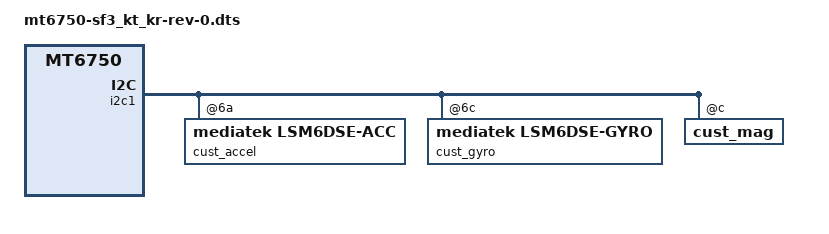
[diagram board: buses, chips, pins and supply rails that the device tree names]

/dts-v1/;

#include "../muse6750_hdk_n_lge.dtsi"

#include "../mt6750-common.dtsi"
#include "mt6750-sf3_kt_kr-power.dtsi"
#include "mt6750-sf3_kt_kr-panel.dtsi"
#include "mt6750-sf3_kt_kr-touch.dtsi"
#include "mt6750-sf3_kt_kr-sensor.dtsi"
#include "mt6750-sf3_kt_kr-fingerprint.dtsi"
#include "mt6750-sf3_kt_kr-misc.dtsi"
#include "mt6750-sf3_kt_kr-sound.dtsi"
#include "mt6750-sf3_kt_kr-nfc.dtsi"
#include "mt6750-sf3_kt_kr-common.dtsi"
#include "mt6750-sf3_kt_kr-usb.dtsi"
#include "mt6750-sf3_kt_kr-tdmb.dtsi"
#include "mt6750-sf3_kt_kr-camera.dtsi"

/ {
	/*
	typedef enum {
		HW_REV_0 = 0,
		HW_REV_0_1,
		HW_REV_A,
		HW_REV_B,
		HW_REV_C,
		HW_REV_1_0,
		HW_REV_1_1,
		HW_REV_MAX
	} rev_type;
	*/
	lge,pcb_revision = <0x0>; // rev_0
};

&i2c1 {
	cust_accel@6a {
		compatible = "mediatek,lsm6dse-acc";
		direction = <4>;
	};

	cust_gyro@6c {
		compatible = "mediatek,lsm6dse-gyro";
		direction = <4>;
	};

	cust_mag@c {
		direction = <6>;
	};
};

//&i2c3 {
//	cust_mag@c {
//		direction = <6>;
//	};
//};

&bat_meter {
	/* cust_battery_meter.h */
	r_charger_2 = <39 >;
};
